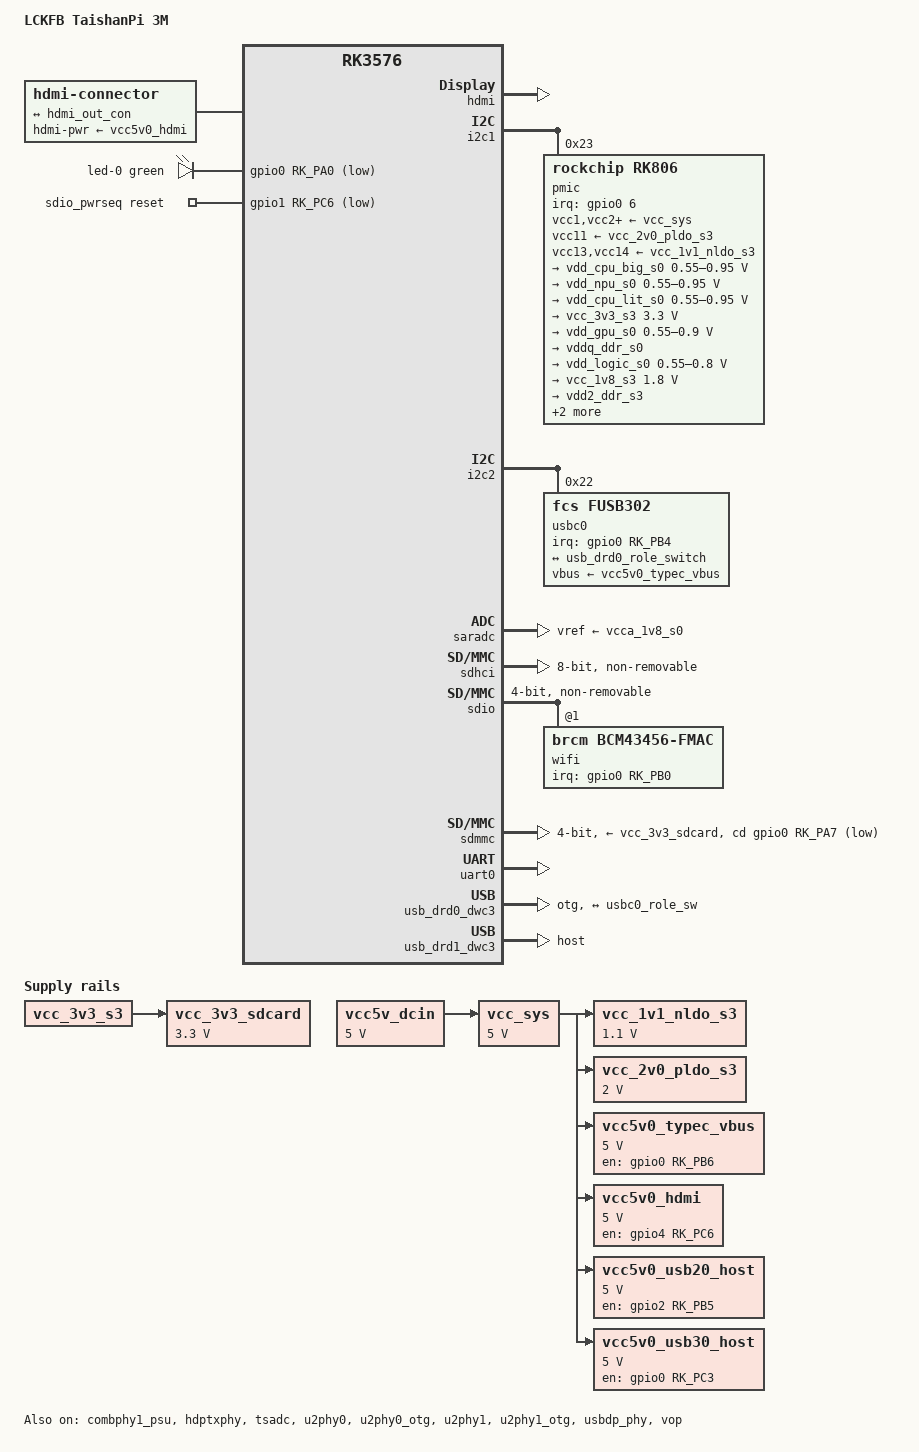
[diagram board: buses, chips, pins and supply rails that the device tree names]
// SPDX-License-Identifier: (GPL-2.0+ OR MIT)
/*
 * Copyright (c) 2026 LCKFB
 */

/dts-v1/;

#include <dt-bindings/gpio/gpio.h>
#include <dt-bindings/interrupt-controller/irq.h>
#include <dt-bindings/leds/common.h>
#include <dt-bindings/pinctrl/rockchip.h>
#include <dt-bindings/soc/rockchip,vop2.h>
#include <dt-bindings/usb/pd.h>
#include "rk3576.dtsi"

/ {
	model = "LCKFB TaishanPi 3M";
	compatible = "lckfb,tspi-3m-rk3576", "rockchip,rk3576";

	aliases {
		mmc0 = &sdhci;
		mmc1 = &sdmmc;
		mmc2 = &sdio;
	};

	chosen {
		stdout-path = "serial0:1500000n8";
	};

	hdmi-con {
		compatible = "hdmi-connector";
		hdmi-pwr-supply = <&vcc5v0_hdmi>;
		type = "a";

		port {
			hdmi_con_in: endpoint {
				remote-endpoint = <&hdmi_out_con>;
			};
		};
	};

	leds {
		compatible = "gpio-leds";

		led-0 {
			color = <LED_COLOR_ID_GREEN>;
			function = LED_FUNCTION_HEARTBEAT;
			gpios = <&gpio0 RK_PA0 GPIO_ACTIVE_LOW>;
			linux,default-trigger = "heartbeat";
		};
	};

	vcc5v_dcin: regulator-vcc5v-dcin {
		compatible = "regulator-fixed";
		regulator-name = "vcc5v_dcin";
		regulator-always-on;
		regulator-boot-on;
		regulator-min-microvolt = <5000000>;
		regulator-max-microvolt = <5000000>;
	};

	vcc_sys: regulator-vcc5v0-sys {
		compatible = "regulator-fixed";
		regulator-name = "vcc_sys";
		regulator-always-on;
		regulator-boot-on;
		regulator-min-microvolt = <5000000>;
		regulator-max-microvolt = <5000000>;
		vin-supply = <&vcc5v_dcin>;
	};

	vcc_1v1_nldo_s3: regulator-vcc-1v1-nldo-s3 {
		compatible = "regulator-fixed";
		regulator-name = "vcc_1v1_nldo_s3";
		regulator-always-on;
		regulator-boot-on;
		regulator-min-microvolt = <1100000>;
		regulator-max-microvolt = <1100000>;
		vin-supply = <&vcc_sys>;
	};

	vcc_2v0_pldo_s3: regulator-vcc-2v0-pldo-s3 {
		compatible = "regulator-fixed";
		regulator-name = "vcc_2v0_pldo_s3";
		regulator-always-on;
		regulator-boot-on;
		regulator-min-microvolt = <2000000>;
		regulator-max-microvolt = <2000000>;
		vin-supply = <&vcc_sys>;
	};

	vcc_3v3_sdcard: regulator-vcc-3v3-sdcard {
		compatible = "regulator-fixed";
		regulator-name = "vcc_3v3_sdcard";
		regulator-always-on;
		regulator-boot-on;
		regulator-min-microvolt = <3300000>;
		regulator-max-microvolt = <3300000>;
		vin-supply = <&vcc_3v3_s3>;
	};

	vcc5v0_typec_vbus: regulator-vcc5v0-typec-vbus {
		compatible = "regulator-fixed";
		regulator-name = "vcc5v0_typec_vbus";
		regulator-min-microvolt = <5000000>;
		regulator-max-microvolt = <5000000>;
		enable-active-high;
		gpio = <&gpio0 RK_PB6 GPIO_ACTIVE_HIGH>;
		vin-supply = <&vcc_sys>;
		pinctrl-names = "default";
		pinctrl-0 = <&typec_vbus_en>;
	};

	vcc5v0_hdmi: regulator-vcc5v0-hdmi {
		compatible = "regulator-fixed";
		regulator-name = "vcc5v0_hdmi";
		regulator-min-microvolt = <5000000>;
		regulator-max-microvolt = <5000000>;
		enable-active-high;
		gpio = <&gpio4 RK_PC6 GPIO_ACTIVE_HIGH>;
		vin-supply = <&vcc_sys>;
		pinctrl-names = "default";
		pinctrl-0 = <&hdmi_con_en>;
	};

	vcc5v0_usb20_host: regulator-vcc5v0-usb20-host {
		compatible = "regulator-fixed";
		regulator-name = "vcc5v0_usb20_host";
		regulator-always-on;
		regulator-boot-on;
		regulator-min-microvolt = <5000000>;
		regulator-max-microvolt = <5000000>;
		enable-active-high;
		gpio = <&gpio2 RK_PB5 GPIO_ACTIVE_HIGH>;
		vin-supply = <&vcc_sys>;
		pinctrl-names = "default";
		pinctrl-0 = <&usb20_host_pwr_en>;
	};

	vcc5v0_usb30_host: regulator-vcc5v0-usb30-host {
		compatible = "regulator-fixed";
		regulator-name = "vcc5v0_usb30_host";
		regulator-always-on;
		regulator-boot-on;
		regulator-min-microvolt = <5000000>;
		regulator-max-microvolt = <5000000>;
		enable-active-high;
		gpio = <&gpio0 RK_PC3 GPIO_ACTIVE_HIGH>;
		vin-supply = <&vcc_sys>;
		pinctrl-names = "default";
		pinctrl-0 = <&usb30_host_pwr_en>;
	};

	sdio_pwrseq: sdio-pwrseq {
		compatible = "mmc-pwrseq-simple";
		pinctrl-names = "default";
		pinctrl-0 = <&wifi_poweren_gpio>;
		post-power-on-delay-ms = <200>;
		reset-gpios = <&gpio1 RK_PC6 GPIO_ACTIVE_LOW>;
	};
};

&combphy1_psu {
	status = "okay";
};

&cpu_b0 {
	cpu-supply = <&vdd_cpu_big_s0>;
};

&cpu_b1 {
	cpu-supply = <&vdd_cpu_big_s0>;
};

&cpu_b2 {
	cpu-supply = <&vdd_cpu_big_s0>;
};

&cpu_b3 {
	cpu-supply = <&vdd_cpu_big_s0>;
};

&cpu_l0 {
	cpu-supply = <&vdd_cpu_lit_s0>;
};

&cpu_l1 {
	cpu-supply = <&vdd_cpu_lit_s0>;
};

&cpu_l2 {
	cpu-supply = <&vdd_cpu_lit_s0>;
};

&cpu_l3 {
	cpu-supply = <&vdd_cpu_lit_s0>;
};

&hdmi {
	status = "okay";
};

&hdmi_in {
	hdmi_in_vp0: endpoint {
		remote-endpoint = <&vp0_out_hdmi>;
	};
};

&hdmi_out {
	hdmi_out_con: endpoint {
		remote-endpoint = <&hdmi_con_in>;
	};
};

&hdptxphy {
	status = "okay";
};

&i2c1 {
	status = "okay";

	pmic@23 {
		compatible = "rockchip,rk806";
		reg = <0x23>;
		#gpio-cells = <2>;
		gpio-controller;
		interrupt-parent = <&gpio0>;
		interrupts = <6 IRQ_TYPE_LEVEL_LOW>;
		pinctrl-names = "default";
		pinctrl-0 = <&pmic_pins
			     &rk806_dvs1_null
			     &rk806_dvs2_null
			     &rk806_dvs3_null>;
		system-power-controller;
		vcc1-supply = <&vcc_sys>;
		vcc2-supply = <&vcc_sys>;
		vcc3-supply = <&vcc_sys>;
		vcc4-supply = <&vcc_sys>;
		vcc5-supply = <&vcc_sys>;
		vcc6-supply = <&vcc_sys>;
		vcc7-supply = <&vcc_sys>;
		vcc8-supply = <&vcc_sys>;
		vcc9-supply = <&vcc_sys>;
		vcc10-supply = <&vcc_sys>;
		vcc11-supply = <&vcc_2v0_pldo_s3>;
		vcc12-supply = <&vcc_sys>;
		vcc13-supply = <&vcc_1v1_nldo_s3>;
		vcc14-supply = <&vcc_1v1_nldo_s3>;
		vcca-supply = <&vcc_sys>;

		rk806_dvs1_null: dvs1-null-pins {
			pins = "gpio_pwrctrl1";
			function = "pin_fun0";
		};

		rk806_dvs2_null: dvs2-null-pins {
			pins = "gpio_pwrctrl2";
			function = "pin_fun0";
		};

		rk806_dvs3_null: dvs3-null-pins {
			pins = "gpio_pwrctrl3";
			function = "pin_fun0";
		};

		regulators {
			vdd_cpu_big_s0: dcdc-reg1 {
				regulator-always-on;
				regulator-boot-on;
				regulator-enable-ramp-delay = <400>;
				regulator-min-microvolt = <550000>;
				regulator-max-microvolt = <950000>;
				regulator-name = "vdd_cpu_big_s0";
				regulator-ramp-delay = <12500>;
				regulator-state-mem {
					regulator-off-in-suspend;
				};
			};

			vdd_npu_s0: dcdc-reg2 {
				regulator-boot-on;
				regulator-enable-ramp-delay = <400>;
				regulator-min-microvolt = <550000>;
				regulator-max-microvolt = <950000>;
				regulator-name = "vdd_npu_s0";
				regulator-ramp-delay = <12500>;
				regulator-state-mem {
					regulator-off-in-suspend;
				};
			};

			vdd_cpu_lit_s0: dcdc-reg3 {
				regulator-always-on;
				regulator-boot-on;
				regulator-min-microvolt = <550000>;
				regulator-max-microvolt = <950000>;
				regulator-name = "vdd_cpu_lit_s0";
				regulator-ramp-delay = <12500>;
				regulator-state-mem {
					regulator-off-in-suspend;
					regulator-suspend-microvolt = <750000>;
				};
			};

			vcc_3v3_s3: dcdc-reg4 {
				regulator-always-on;
				regulator-boot-on;
				regulator-min-microvolt = <3300000>;
				regulator-max-microvolt = <3300000>;
				regulator-name = "vcc_3v3_s3";
				regulator-state-mem {
					regulator-on-in-suspend;
					regulator-suspend-microvolt = <3300000>;
				};
			};

			vdd_gpu_s0: dcdc-reg5 {
				regulator-boot-on;
				regulator-enable-ramp-delay = <400>;
				regulator-min-microvolt = <550000>;
				regulator-max-microvolt = <900000>;
				regulator-name = "vdd_gpu_s0";
				regulator-ramp-delay = <12500>;
				regulator-state-mem {
					regulator-off-in-suspend;
					regulator-suspend-microvolt = <850000>;
				};
			};

			vddq_ddr_s0: dcdc-reg6 {
				regulator-always-on;
				regulator-boot-on;
				regulator-name = "vddq_ddr_s0";
				regulator-state-mem {
					regulator-off-in-suspend;
				};
			};

			vdd_logic_s0: dcdc-reg7 {
				regulator-always-on;
				regulator-boot-on;
				regulator-min-microvolt = <550000>;
				regulator-max-microvolt = <800000>;
				regulator-name = "vdd_logic_s0";
				regulator-state-mem {
					regulator-off-in-suspend;
				};
			};

			vcc_1v8_s3: dcdc-reg8 {
				regulator-always-on;
				regulator-boot-on;
				regulator-min-microvolt = <1800000>;
				regulator-max-microvolt = <1800000>;
				regulator-name = "vcc_1v8_s3";
				regulator-state-mem {
					regulator-on-in-suspend;
					regulator-suspend-microvolt = <1800000>;
				};
			};

			vdd2_ddr_s3: dcdc-reg9 {
				regulator-always-on;
				regulator-boot-on;
				regulator-name = "vdd2_ddr_s3";
				regulator-state-mem {
					regulator-on-in-suspend;
				};
			};

			vdd_ddr_s0: dcdc-reg10 {
				regulator-always-on;
				regulator-boot-on;
				regulator-min-microvolt = <550000>;
				regulator-max-microvolt = <1200000>;
				regulator-name = "vdd_ddr_s0";
				regulator-state-mem {
					regulator-off-in-suspend;
				};
			};

			vcca_1v8_s0: pldo-reg1 {
				regulator-always-on;
				regulator-boot-on;
				regulator-min-microvolt = <1800000>;
				regulator-max-microvolt = <1800000>;
				regulator-name = "vcca_1v8_s0";
				regulator-state-mem {
					regulator-off-in-suspend;
				};
			};

			vcca1v8_pldo2_s0: pldo-reg2 {
				regulator-always-on;
				regulator-boot-on;
				regulator-min-microvolt = <1800000>;
				regulator-max-microvolt = <1800000>;
				regulator-name = "vcca1v8_pldo2_s0";
				regulator-state-mem {
					regulator-off-in-suspend;
				};
			};

			vdda_1v2_s0: pldo-reg3 {
				regulator-always-on;
				regulator-boot-on;
				regulator-min-microvolt = <1200000>;
				regulator-max-microvolt = <1200000>;
				regulator-name = "vdda_1v2_s0";
				regulator-state-mem {
					regulator-off-in-suspend;
				};
			};

			vcca_3v3_s0: pldo-reg4 {
				regulator-always-on;
				regulator-boot-on;
				regulator-min-microvolt = <3300000>;
				regulator-max-microvolt = <3300000>;
				regulator-name = "vcca_3v3_s0";
				regulator-state-mem {
					regulator-off-in-suspend;
				};
			};

			vccio_sd_s0: pldo-reg5 {
				regulator-always-on;
				regulator-boot-on;
				regulator-min-microvolt = <1800000>;
				regulator-max-microvolt = <3300000>;
				regulator-name = "vccio_sd_s0";
				regulator-state-mem {
					regulator-off-in-suspend;
				};
			};

			vcca1v8_pldo6_s3: pldo-reg6 {
				regulator-always-on;
				regulator-boot-on;
				regulator-min-microvolt = <1800000>;
				regulator-max-microvolt = <1800000>;
				regulator-name = "vcca1v8_pldo6_s3";
				regulator-state-mem {
					regulator-on-in-suspend;
					regulator-suspend-microvolt = <1800000>;
				};
			};

			vdd_0v75_s3: nldo-reg1 {
				regulator-always-on;
				regulator-boot-on;
				regulator-min-microvolt = <750000>;
				regulator-max-microvolt = <750000>;
				regulator-name = "vdd_0v75_s3";
				regulator-state-mem {
					regulator-on-in-suspend;
					regulator-suspend-microvolt = <750000>;
				};
			};

			vdda_ddr_pll_s0: nldo-reg2 {
				regulator-always-on;
				regulator-boot-on;
				regulator-min-microvolt = <850000>;
				regulator-max-microvolt = <850000>;
				regulator-name = "vdda_ddr_pll_s0";
				regulator-state-mem {
					regulator-off-in-suspend;
				};
			};

			vdda0v75_hdmi_s0: nldo-reg3 {
				regulator-always-on;
				regulator-boot-on;
				regulator-min-microvolt = <837500>;
				regulator-max-microvolt = <837500>;
				regulator-name = "vdda0v75_hdmi_s0";
				regulator-state-mem {
					regulator-off-in-suspend;
				};
			};

			vdda_0v85_s0: nldo-reg4 {
				regulator-always-on;
				regulator-boot-on;
				regulator-min-microvolt = <850000>;
				regulator-max-microvolt = <850000>;
				regulator-name = "vdda_0v85_s0";
				regulator-state-mem {
					regulator-off-in-suspend;
				};
			};

			vdda_0v75_s0: nldo-reg5 {
				regulator-always-on;
				regulator-boot-on;
				regulator-min-microvolt = <750000>;
				regulator-max-microvolt = <750000>;
				regulator-name = "vdda_0v75_s0";
				regulator-state-mem {
					regulator-off-in-suspend;
				};
			};
		};
	};
};

&i2c2 {
	pinctrl-names = "default";
	pinctrl-0 = <&i2c2m0_xfer>;
	status = "okay";

	usbc0: usb-typec@22 {
		compatible = "fcs,fusb302";
		reg = <0x22>;
		interrupt-parent = <&gpio0>;
		interrupts = <RK_PB4 IRQ_TYPE_LEVEL_LOW>;
		pinctrl-names = "default";
		pinctrl-0 = <&fusb302_int>;
		vbus-supply = <&vcc5v0_typec_vbus>;

		ports {
			#address-cells = <1>;
			#size-cells = <0>;

			port@0 {
				reg = <0>;

				usbc0_role_sw: endpoint {
					remote-endpoint = <&usb_drd0_role_switch>;
				};
			};
		};

		connector {
			compatible = "usb-c-connector";
			data-role = "dual";
			label = "USB-C";
			power-role = "dual";
			sink-pdos = <PDO_FIXED(5000, 1000, PDO_FIXED_USB_COMM)>;
			source-pdos = <PDO_FIXED(5000, 3000, PDO_FIXED_USB_COMM)>;
			try-power-role = "sink";
		};
	};
};

&pinctrl {
	hdmi {
		hdmi_con_en: hdmi-con-en {
			rockchip,pins = <4 RK_PC6 RK_FUNC_GPIO &pcfg_pull_none>;
		};
	};

	wireless-wlan {
		wifi_host_wake_irq: wifi-host-wake-irq {
			rockchip,pins = <0 RK_PB0 RK_FUNC_GPIO &pcfg_pull_down>;
		};

		wifi_poweren_gpio: wifi-poweren-gpio {
			rockchip,pins = <1 RK_PC6 RK_FUNC_GPIO &pcfg_pull_up>;
		};
	};

	usb {
		fusb302_int: fusb302-int {
			rockchip,pins = <0 RK_PB4 RK_FUNC_GPIO &pcfg_pull_up>;
		};

		typec_vbus_en: typec-vbus-en {
			rockchip,pins = <0 RK_PB6 RK_FUNC_GPIO &pcfg_pull_none>;
		};

		usb20_host_pwr_en: usb20-host-pwr-en {
			rockchip,pins = <2 RK_PB5 RK_FUNC_GPIO &pcfg_pull_none>;
		};

		usb30_host_pwr_en: usb30-host-pwr-en {
			rockchip,pins = <0 RK_PC3 RK_FUNC_GPIO &pcfg_pull_none>;
		};
	};
};

&saradc {
	vref-supply = <&vcca_1v8_s0>;
	status = "okay";
};

&sdhci {
	bus-width = <8>;
	full-pwr-cycle-in-suspend;
	mmc-hs400-1_8v;
	mmc-hs400-enhanced-strobe;
	no-sd;
	no-sdio;
	non-removable;
	status = "okay";
};

&sdio {
	#address-cells = <1>;
	#size-cells = <0>;
	bus-width = <4>;
	cap-sd-highspeed;
	cap-sdio-irq;
	keep-power-in-suspend;
	max-frequency = <150000000>;
	mmc-pwrseq = <&sdio_pwrseq>;
	no-mmc;
	no-sd;
	non-removable;
	pinctrl-names = "default";
	pinctrl-0 = <&sdmmc1m0_bus4 &sdmmc1m0_clk &sdmmc1m0_cmd>;
	sd-uhs-sdr104;
	status = "okay";

	wifi@1 {
		compatible = "brcm,bcm43456-fmac", "brcm,bcm4329-fmac";
		reg = <1>;
		interrupt-parent = <&gpio0>;
		interrupts = <RK_PB0 IRQ_TYPE_LEVEL_HIGH>;
		interrupt-names = "host-wake";
		pinctrl-names = "default";
		pinctrl-0 = <&wifi_host_wake_irq>;
	};
};

&sdmmc {
	bus-width = <4>;
	cap-mmc-highspeed;
	cap-sd-highspeed;
	cd-gpios = <&gpio0 RK_PA7 GPIO_ACTIVE_LOW>;
	disable-wp;
	no-mmc;
	no-sdio;
	sd-uhs-sdr104;
	vmmc-supply = <&vcc_3v3_sdcard>;
	vqmmc-supply = <&vccio_sd_s0>;
	pinctrl-names = "default";
	pinctrl-0 = <&sdmmc0_clk &sdmmc0_cmd &sdmmc0_det
		     &sdmmc0_bus4>;
	status = "okay";
};

&tsadc {
	status = "okay";
};

&u2phy0 {
	status = "okay";
};

&u2phy0_otg {
	rockchip,typec-vbus-det;
	status = "okay";
};

&u2phy1 {
	status = "okay";
};

&u2phy1_otg {
	dr_mode = "host";
	phy-supply = <&vcc5v0_usb20_host>;
	status = "okay";
};

&uart0 {
	pinctrl-0 = <&uart0m0_xfer>;
	status = "okay";
};

&usbdp_phy {
	status = "okay";
};

&usb_drd0_dwc3 {
	dr_mode = "otg";
	snps,dis_u2_susphy_quirk;
	snps,dis_u3_susphy_quirk;
	snps,parkmode-disable-hs-quirk;
	snps,parkmode-disable-ss-quirk;
	usb-role-switch;
	status = "okay";

	port {
		usb_drd0_role_switch: endpoint {
			remote-endpoint = <&usbc0_role_sw>;
		};
	};
};

&usb_drd1_dwc3 {
	dr_mode = "host";
	snps,dis_u2_susphy_quirk;
	status = "okay";
};

&vop {
	status = "okay";
};

&vop_mmu {
	status = "okay";
};

&vp0 {
	vp0_out_hdmi: endpoint@ROCKCHIP_VOP2_EP_HDMI0 {
		reg = <ROCKCHIP_VOP2_EP_HDMI0>;
		remote-endpoint = <&hdmi_in_vp0>;
	};
};
